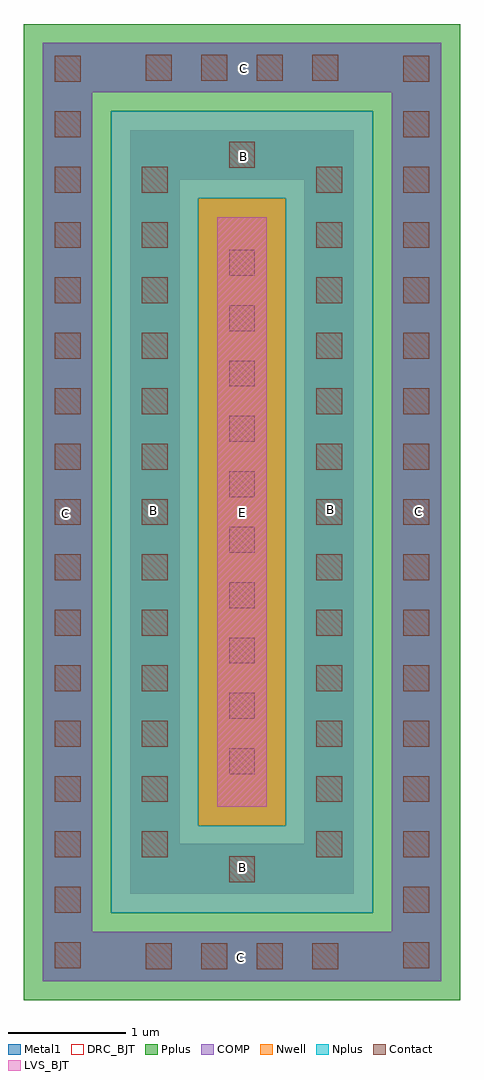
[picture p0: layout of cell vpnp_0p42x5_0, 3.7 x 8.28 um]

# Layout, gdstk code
import gdstk
lib = gdstk.Library(unit=1e-6, precision=1e-09)
def R(c, l, rs):  # rectangles x0, y0, x1, y1
    for r in rs: c.add(gdstk.rectangle(r[:2], r[2:], *l))
def A(c, l, x, y, w, h, nx, ny, dx, dy):  # array of equal rectangles
    R(c, l, [(x+i*dx, y+j*dy, x+i*dx+w, y+j*dy+h) for i in range(nx) for j in range(ny)])
def P(c, l, *ps):  # polygons
    for p in ps: c.add(gdstk.Polygon(p, *l))
Nwell = (21, 0)
COMP = (22, 0)
Pplus = (31, 0)
Nplus = (32, 0)
Contact = (33, 0)
Metal1 = (34, 0)
LVS_BJT = (118, 5)
DRC_BJT = (127, 5)

vpnp_0p42x5_0 = lib.new_cell('vpnp_0p42x5_0')
R(vpnp_0p42x5_0, Nwell, [(-1.11,-3.4,1.11,3.4)])
R(vpnp_0p42x5_0, COMP, [(-0.21,-2.5,0.21,2.5)])
P(vpnp_0p42x5_0, COMP, [(-0.95,-3.24),(-0.95,3.24),(0.53,3.24),(0.53,2.82),(-0.53,2.82),(-0.53,-2.82),(0.53,-2.82),(0.53,3.24),(0.95,3.24),(0.95,-3.24)],
  [(-1.69,-3.98),(-1.69,3.98),(1.27,3.98),(1.27,3.56),(-1.27,3.56),(-1.27,-3.56),(1.27,-3.56),(1.27,3.98),(1.69,3.98),(1.69,-3.98)])
R(vpnp_0p42x5_0, Pplus, [(-0.37,-2.66,0.37,2.66)])
P(vpnp_0p42x5_0, Pplus, [(-1.85,-4.14),(-1.85,4.14),(1.11,4.14),(1.11,3.4),(-1.11,3.4),(-1.11,-3.4),(1.11,-3.4),(1.11,4.14),(1.85,4.14),(1.85,-4.14)])
P(vpnp_0p42x5_0, Nplus, [(-1.11,-3.4),(-1.11,3.4),(0.37,3.4),(0.37,2.66),(-0.37,2.66),(-0.37,-2.66),(0.37,-2.66),(0.37,3.4),(1.11,3.4),(1.11,-3.4)])
A(vpnp_0p42x5_0, Contact, -0.815, -3.88, 0.22, 0.22, 4, 2, 0.47, 7.54)
A(vpnp_0p42x5_0, Contact, -1.59, -3.87, 0.22, 0.22, 1, 17, 0, 0.47)
A(vpnp_0p42x5_0, Contact, 1.37, -3.87, 0.22, 0.22, 1, 17, 0, 0.47)
A(vpnp_0p42x5_0, Contact, -0.85, -2.93, 0.22, 0.22, 1, 13, 0, 0.47)
A(vpnp_0p42x5_0, Contact, 0.63, -2.93, 0.22, 0.22, 1, 13, 0, 0.47)
A(vpnp_0p42x5_0, Contact, -0.11, -2.225, 0.22, 0.22, 1, 10, 0, 0.47)
R(vpnp_0p42x5_0, Contact, [(-0.11,-3.14,0.11,-2.92), (-0.11,2.92,0.11,3.14)])
R(vpnp_0p42x5_0, Metal1, [(-1.69,-3.98,1.69,-3.56), (-1.69,-3.98,-1.27,3.98), (1.27,-3.98,1.69,3.98), (-0.95,-3.24,-0.53,3.24), (-0.95,-3.24,0.95,-2.815), (0.53,-3.24,0.95,3.24), (-0.21,-2.5,0.21,2.5), (-0.21,-2.5,0.21,2.5), (-0.95,2.82,0.95,3.24), (-1.69,3.56,1.69,3.98)])
P(vpnp_0p42x5_0, Metal1, [(-0.95,-3.24),(-0.95,3.24),(0.53,3.24),(0.53,2.82),(-0.53,2.82),(-0.53,-2.82),(0.53,-2.82),(0.53,3.24),(0.95,3.24),(0.95,-3.24)],
  [(-1.69,-3.98),(-1.69,3.98),(1.27,3.98),(1.27,3.56),(-1.27,3.56),(-1.27,-3.56),(1.27,-3.56),(1.27,3.98),(1.69,3.98),(1.69,-3.98)])
R(vpnp_0p42x5_0, LVS_BJT, [(-0.21,-2.5,0.21,2.5)])
R(vpnp_0p42x5_0, DRC_BJT, [(-1.85,-4.14,1.85,4.14)])
vpnp_0p42x5_0.add(gdstk.Label('B', (-0.75,0.015), layer=34, texttype=0))
vpnp_0p42x5_0.add(gdstk.Label('E', (0,-0.005), layer=34, texttype=0))
vpnp_0p42x5_0.add(gdstk.Label('B', (0.01,3.015), layer=34, texttype=0))
vpnp_0p42x5_0.add(gdstk.Label('B', (0.75,0.025), layer=34, texttype=0))
vpnp_0p42x5_0.add(gdstk.Label('B', (0.005,-3.015), layer=34, texttype=0))
vpnp_0p42x5_0.add(gdstk.Label('C', (0.015,3.765), layer=34, texttype=0))
vpnp_0p42x5_0.add(gdstk.Label('C', (1.5,0.005), layer=34, texttype=0))
vpnp_0p42x5_0.add(gdstk.Label('C', (-0.01,-3.78), layer=34, texttype=0))
vpnp_0p42x5_0.add(gdstk.Label('C', (-1.495,-0.01), layer=34, texttype=0))

lib.write_gds('vpnp_0p42x5_0.gds')
